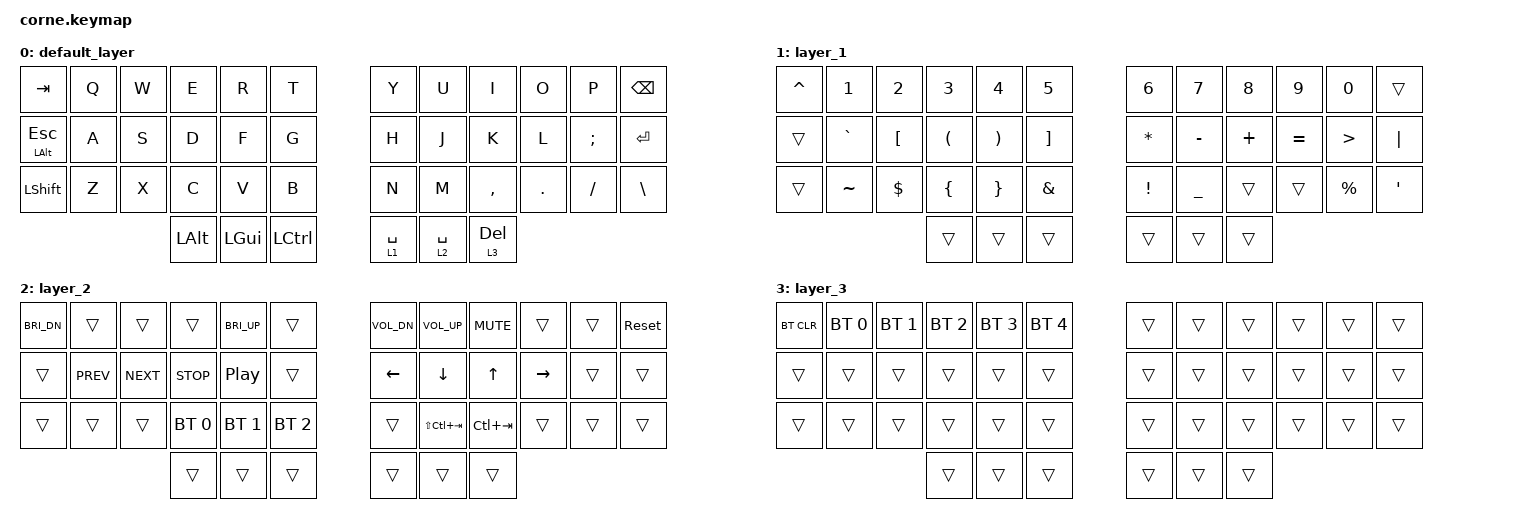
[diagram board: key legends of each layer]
#include <behaviors.dtsi>
#include <dt-bindings/zmk/bt.h>
#include <dt-bindings/zmk/keys.h>

/ {
    keymap {
        compatible = "zmk,keymap";

        default_layer {
            // ┌─────────┬────┬────┬────┬────┬────┐   ┌────┬────┬────┬────┬────┬─────────┐
            // │   TAB   │ Q  │ W  │ E  │ R  │ T  │   │ Y  │ U  │ I  │ O  │ P  │  BSPC   │
            // ├─────────┼────┼────┼────┼────┼────┤   ├────┼────┼────┼────┼────┼─────────┤
            // │ ESC/ALT │ A  │ S  │ D  │ F  │ G  │   │ H  │ J  │ K  │ L  │ ;  │  Enter  │
            // ├─────────┼────┼────┼────┼────┼────┤   ├────┼────┼────┼────┼────┼─────────┤
            // │  SHFT   │ Z  │ X  │ C  │ V  │ B  │   │ N  │ M  │ ,  │ .  │ /  │    \    │
            // └─────────┴────┴────┴────┴────┴────┘   └────┴────┴────┴────┴────┴─────────┘
            //               ┌──────┬──────┬────────┐   ┌───────────┬───────────┬─────────┐
            //               │ LALT │ LGUI │ LCTRL  │   │ LT1/SPACE │ LT2/SPACE │ LT3/DEL │
            //               └──────┴──────┴────────┘   └───────────┴───────────┴─────────┘

            bindings = <
&kp TAB       &kp Q  &kp W  &kp E  &kp R  &kp T      &kp Y         &kp U         &kp I      &kp O    &kp P     &kp BSPC
&mt LALT ESC  &kp A  &kp S  &kp D  &kp F  &kp G      &kp H         &kp J         &kp K      &kp L    &kp SEMI  &kp RET
&kp LSHFT     &kp Z  &kp X  &kp C  &kp V  &kp B      &kp N         &kp M         &kp COMMA  &kp DOT  &kp FSLH  &kp BSLH
                     &kp LALT  &kp LGUI  &kp LCTRL   &lt 1 SPACE   &lt 2 SPACE   &lt 3 DEL
            >;
        };

        layer_1 {
            // Sym + Num
            // ┌─────────┬────┬────┬────┬────┬────┐   ┌────┬────┬────┬────┬────┬─────────┐
            // │    ^    │ 1  │ 2  │ 3  │ 4  │ 5  │   │ 6  │ 7  │ 8  │ 9  │ 0  │         │
            // ├─────────┼────┼────┼────┼────┼────┤   ├────┼────┼────┼────┼────┼─────────┤
            // │         │ `  │ [  │ (  │ )  │ ]  │   │ *  │ -  │ +  │ =  │ >  │    |    │
            // ├─────────┼────┼────┼────┼────┼────┤   ├────┼────┼────┼────┼────┼─────────┤
            // │         │ ~  │ $  │ {  │ }  │ &  │   │ !  │ _  │    │    │ %  │    '    │
            // └─────────┴────┴────┴────┴────┴────┘   └────┴────┴────┴────┴────┴─────────┘
            //               ┌──────┬──────┬────────┐   ┌───────────┬───────────┬──────┐
            //               │      │      │        │   │           │           │      │
            //               └──────┴──────┴────────┘   └───────────┴───────────┴──────┘

            bindings = <
&kp CARET    &kp N1     &kp N2    &kp N3    &kp N4    &kp N5      &kp N6    &kp N7     &kp N8     &kp N9    &kp N0    &trans
&trans       &kp GRAVE  &kp LBKT  &kp LPAR  &kp RPAR  &kp RBKT    &kp ASTRK &kp MINUS  &kp PLUS   &kp EQUAL &kp GT    &kp PIPE
&trans       &kp TILDE  &kp DLLR  &kp LBRC  &kp RBRC  &kp AMPS    &kp EXCL  &kp UNDER  &trans     &trans    &kp PRCNT &kp SQT
                         &trans    &trans    &trans                &trans    &trans     &trans
            >;
        };

        layer_2 {
            // Nav + System
            // ┌──────────┬────────┬────────┬────────┬──────────┬────┐   ┌─────────┬─────────┬────────┬────────┬────┬──────────┐
            // │  BRI_DN  │        │        │        │  BRI_UP  │    │   │  VOL_DN │  VOL_UP │  MUTE  │        │    │ SYS_RST  │
            // ├──────────┼────────┼────────┼────────┼──────────┼────┤   ├─────────┼─────────┼────────┼────────┼────┼──────────┤
            // │          │ C_PREV │ C_NEXT │ C_STOP │   C_PP   │    │   │    ←    │    ↓    │   ↑    │   →    │    │          │
            // ├──────────┼────────┼────────┼────────┼──────────┼────┤   ├─────────┼─────────┼────────┼────────┼────┼──────────┤
            // │          │        │        │  BT 0  │   BT 1   │BT2 │   │         │ PRV TAB │NXT TAB │        │    │          │
            // └──────────┴────────┴────────┴────────┴──────────┴────┘   └─────────┴─────────┴────────┴────────┴────┴──────────┘
            //                     ┌──────┬──────┬────────┐   ┌───────────┬───────────┬──────┐
            //                     │      │      │        │   │           │           │      │
            //                     └──────┴──────┴────────┘   └───────────┴───────────┴──────┘

            bindings = <
&kp C_BRI_DN  &trans      &trans      &trans        &kp C_BRI_UP  &trans        &kp C_VOL_DN      &kp C_VOL_UP    &kp C_MUTE  &trans     &trans  &sys_reset
&trans        &kp C_PREV  &kp C_NEXT  &kp C_STOP    &kp C_PP      &trans        &kp LEFT          &kp DOWN        &kp UP      &kp RIGHT  &trans  &trans
&trans        &trans      &trans      &bt BT_SEL 0  &bt BT_SEL 1  &bt BT_SEL 2  &trans            &kp LS(LC(TAB)) &kp LC(TAB) &trans     &trans  &trans
                           &trans     &trans        &trans                       &trans            &trans          &trans
            >;
        };

        layer_3 {
            // Adjust — full BT management
            // ┌────────┬──────┬──────┬──────┬──────┬──────┐   ┌────┬────┬────┬────┬────┬────┐
            // │ BT CLR │ BT 0 │ BT 1 │ BT 2 │ BT 3 │ BT 4 │   │    │    │    │    │    │    │
            // ├────────┼──────┼──────┼──────┼──────┼──────┤   ├────┼────┼────┼────┼────┼────┤
            // │        │      │      │      │      │      │   │    │    │    │    │    │    │
            // ├────────┼──────┼──────┼──────┼──────┼──────┤   ├────┼────┼────┼────┼────┼────┤
            // │        │      │      │      │      │      │   │    │    │    │    │    │    │
            // └────────┴──────┴──────┴──────┴──────┴──────┘   └────┴────┴────┴────┴────┴────┘

            bindings = <
&bt BT_CLR  &bt BT_SEL 0  &bt BT_SEL 1  &bt BT_SEL 2  &bt BT_SEL 3  &bt BT_SEL 4   &trans  &trans  &trans  &trans  &trans  &trans
&trans      &trans        &trans        &trans        &trans        &trans          &trans  &trans  &trans  &trans  &trans  &trans
&trans      &trans        &trans        &trans        &trans        &trans          &trans  &trans  &trans  &trans  &trans  &trans
                          &trans        &trans        &trans                        &trans  &trans  &trans
            >;
        };
    };
};
